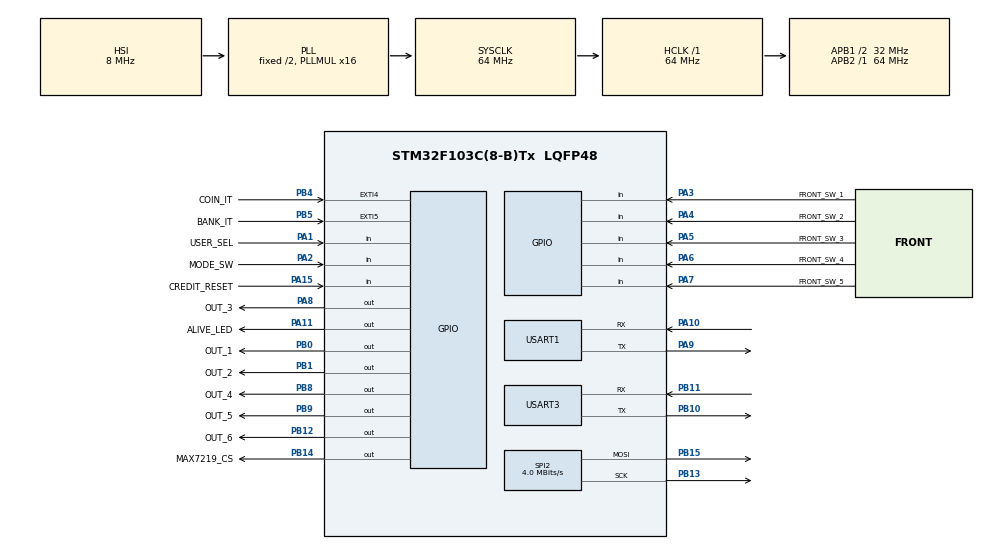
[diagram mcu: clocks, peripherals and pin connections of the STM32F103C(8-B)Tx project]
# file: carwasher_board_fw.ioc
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Mcu.Family=STM32F1
Mcu.Name=STM32F103C(8-B)Tx
Mcu.Package=LQFP48
NVIC.EXTI4_IRQn=true\:0\:0\:false\:false\:true\:true\:true
NVIC.EXTI9_5_IRQn=true\:0\:0\:false\:false\:true\:true\:true
NVIC.PriorityGroup=NVIC_PRIORITYGROUP_4
NVIC.TIM2_IRQn=true\:0\:0\:true\:false\:true\:true\:true
PA1.GPIO_Label=USER_SEL
PA1.GPIO_PuPd=GPIO_PULLDOWN
PA1.Signal=GPIO_Input
PA10.Mode=Asynchronous
PA10.Signal=USART1_RX
PA11.GPIO_Label=ALIVE_LED
PA11.Signal=GPIO_Output
PA13.Mode=Serial_Wire
PA13.Signal=SYS_JTMS-SWDIO
PA14.Mode=Serial_Wire
PA14.Signal=SYS_JTCK-SWCLK
PA15.GPIO_Label=CREDIT_RESET
PA15.GPIO_PuPd=GPIO_PULLDOWN
PA15.Signal=GPIO_Input
PA2.GPIO_Label=MODE_SW
PA2.GPIO_PuPd=GPIO_PULLDOWN
PA2.Signal=GPIO_Input
PA3.GPIO_Label=FRONT_SW_1
PA3.GPIO_PuPd=GPIO_PULLDOWN
PA3.Signal=GPIO_Input
PA4.GPIO_Label=FRONT_SW_2
PA4.GPIO_PuPd=GPIO_PULLDOWN
PA4.Signal=GPIO_Input
PA5.GPIO_Label=FRONT_SW_3
PA5.GPIO_PuPd=GPIO_PULLDOWN
PA5.Signal=GPIO_Input
PA6.GPIO_Label=FRONT_SW_4
PA6.GPIO_PuPd=GPIO_PULLDOWN
PA6.Signal=GPIO_Input
PA7.GPIO_Label=FRONT_SW_5
PA7.GPIO_PuPd=GPIO_PULLDOWN
PA7.Signal=GPIO_Input
PA8.GPIO_Label=OUT_3
PA8.GPIO_PuPd=GPIO_PULLDOWN
PA8.Signal=GPIO_Output
PA9.Mode=Asynchronous
PA9.Signal=USART1_TX
PB0.GPIO_Label=OUT_1
PB0.GPIO_PuPd=GPIO_PULLDOWN
PB0.Signal=GPIO_Output
PB1.GPIO_Label=OUT_2
PB1.GPIO_PuPd=GPIO_PULLDOWN
PB1.Signal=GPIO_Output
PB10.Mode=Asynchronous
PB10.Signal=USART3_TX
PB11.Mode=Asynchronous
PB11.Signal=USART3_RX
PB12.GPIO_Label=OUT_6
PB12.GPIO_PuPd=GPIO_PULLDOWN
PB12.Signal=GPIO_Output
PB13.Mode=TX_Only_Simplex_Unidirect_Master
PB13.Signal=SPI2_SCK
PB14.GPIO_Label=MAX7219_CS
PB14.GPIO_PuPd=GPIO_PULLDOWN
PB14.Signal=GPIO_Output
PB15.Mode=TX_Only_Simplex_Unidirect_Master
PB15.Signal=SPI2_MOSI
PB4.GPIO_Label=COIN_IT
PB4.GPIO_ModeDefaultEXTI=GPIO_MODE_IT_RISING
PB4.Signal=GPXTI4
PB5.GPIO_Label=BANK_IT
PB5.GPIO_ModeDefaultEXTI=GPIO_MODE_IT_RISING
PB5.Signal=GPXTI5
PB8.GPIO_Label=OUT_4
PB8.GPIO_PuPd=GPIO_PULLDOWN
PB8.Signal=GPIO_Output
PB9.GPIO_Label=OUT_5
PB9.GPIO_PuPd=GPIO_PULLDOWN
PB9.Signal=GPIO_Output
PC14-OSC32_IN.Mode=LSE-External-Oscillator
PC14-OSC32_IN.Signal=RCC_OSC32_IN
PC15-OSC32_OUT.Mode=LSE-External-Oscillator
PC15-OSC32_OUT.Signal=RCC_OSC32_OUT
PD0-OSC_IN.Mode=HSE-External-Oscillator
PD0-OSC_IN.Signal=RCC_OSC_IN
PD1-OSC_OUT.Mode=HSE-External-Oscillator
PD1-OSC_OUT.Signal=RCC_OSC_OUT
ProjectManager.HeapSize=0x200
ProjectManager.StackSize=0x400
ProjectManager.TargetToolchain=STM32CubeIDE
RCC.AHBFreq_Value=64000000
RCC.APB1CLKDivider=RCC_HCLK_DIV2
RCC.APB1Freq_Value=32000000
RCC.APB1TimFreq_Value=64000000
RCC.APB2Freq_Value=64000000
RCC.APB2TimFreq_Value=64000000
RCC.HCLKFreq_Value=64000000
RCC.PLLMUL=RCC_PLL_MUL16
RCC.SYSCLKFreq_VALUE=64000000
RCC.SYSCLKSource=RCC_SYSCLKSOURCE_PLLCLK
RCC.USBFreq_Value=64000000
SPI2.BaudRatePrescaler=SPI_BAUDRATEPRESCALER_8
SPI2.CalculateBaudRate=4.0 MBits/s
SPI2.Direction=SPI_DIRECTION_2LINES
SPI2.Mode=SPI_MODE_MASTER
SPI2.VirtualType=VM_MASTER
TIM2.Period=5999
TIM2.Prescaler=119
USART1.VirtualMode=VM_ASYNC
USART3.VirtualMode=VM_ASYNC
VP_RTC_VS_RTC_Activate.Mode=RTC_Enabled
VP_RTC_VS_RTC_Calendar.Mode=RTC_Calendar
VP_TIM2_VS_ClockSourceINT.Mode=Internal
board=custom

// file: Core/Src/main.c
/* USER CODE BEGIN Header */
/**
 ******************************************************************************
 * @file           : main.c
 * @brief          : Main program body
 ******************************************************************************
 * @attention
 *
 * <h2><center>&copy; Copyright (c) 2021 STMicroelectronics.
 * All rights reserved.</center></h2>
 *
 * This software component is licensed by ST under BSD 3-Clause license,
 * the "License"; You may not use this file except in compliance with the
 * License. You may obtain a copy of the License at:
 *                        opensource.org/licenses/BSD-3-Clause
 *
 ******************************************************************************
 */
/* USER CODE END Header */
#include "main.h"
#include "rtc.h"
#include "spi.h"
#include "tim.h"
#include "usart.h"
#include "gpio.h"

/* USER CODE BEGIN Includes */
#include <stdio.h>
#include <string.h>
#include <stdbool.h>
#include <math.h>
#include <max7219.h>
/* USER CODE END Includes */

/* USER CODE BEGIN PD */
#define SW_DEBOUNCE_TIME 90
#define IOT_SEND_INTERVAL 5
#define CREDIT_HI_BYTE 0x06
#define CREDIT_LO_BYTE 0x07
/* USER CODE END PD */

void SystemClock_Config(void);
/* USER CODE BEGIN PFP */
void init_display(void);
void do_1sec_tick(void);
void do_500ms_tick(void);
void do_400ms_tick(void);
void do_300ms_tick(void);
void do_200ms_tick(void);
void do_2sec_tick(void);
uint8_t read_button(void);
void do_operation(void);
void segment_display_int(int number);
void decrease_credit(void);
uint8_t get_function_duration(uint8_t selected_mode);
void segment_display_standby(void);
void segment_display_off(void);
void reset_all_pins(void);
void setting_menu_loop(void);
void segment_display_function_settings(int func_number,int value);
void display_menu(uint8_t selected_menu);
/////  eeprom stuff
void eeprom_write(uint8_t addr, uint8_t data);
void store_credit_eeprom(uint16_t credit);
uint16_t read_credit_eeprom(void);
/////  eeprom stuff
void set_add_duration_of_function(uint8_t _selected_menu);
void set_substract_duration_of_function(uint8_t _selected_menu);
void read_settings_from_eeprom(void);
void reset_all_state(void);
void send_iot_status(uint8_t money_event);
void stop_acceptors(void);
void start_acceptors(void);

void add_bank_note_credit(void);
void add_coin_credit(void);

void enable_exti(void);
void disable_exti(void);
/* USER CODE END PFP */

/* USER CODE BEGIN 0 */
volatile int tim2_counter = 0;
volatile int tim2_300ms_counter = 0;
volatile int tim2_200ms_counter = 0;
volatile int tim2_400ms_counter = 0;
volatile int tim2_500ms_counter = 0;
volatile int tim2_2sec_counter = 0;
volatile int iot_round_counter = 0;
volatile bool is_operation_running = false;
volatile uint16_t credit = 0;   // credit store
volatile uint8_t pressed_button = 0;
volatile uint8_t setting_mode = 0;
volatile uint8_t current_out_port = 0;
volatile bool is_standby = true;
volatile uint8_t standby_counter = 0;
volatile bool consume_credit = false;
volatile bool display_binking = false;
volatile bool front_button_reset_credit_press = false;
volatile uint16_t front_button_reset_credit_counter = 0;
/* duration settings */
volatile uint8_t F1_DURATION = 10;
volatile uint8_t F2_DURATION = 10;
volatile uint8_t F3_DURATION = 10;
volatile uint8_t F4_DURATION = 10;
volatile uint8_t F5_DURATION = 10;
volatile uint8_t credit_consume_counter = 0;

/// for timer capture
volatile uint32_t IC_Val1 = 0;
volatile uint32_t IC_Val2 = 0;
volatile uint32_t Difference = 0;
volatile uint8_t Is_First_Captured = 0;  // is the first value captured ?

volatile uint32_t coin_IC_Val1 = 0;
volatile uint32_t coin_IC_Val2 = 0;
volatile uint32_t coin_Difference = 0;
volatile uint8_t coin_Is_First_Captured = 0;  // is the first value captured ?

volatile const int8_t bank_acceptor_pulse_width = 45;
volatile const int8_t coin_acceptor_pulse_width = 50;
volatile const int8_t creditPulseOffset = 10;

volatile const uint8_t bank_credit_per_pulse = 10;
volatile const uint8_t coin_credit_per_pulse = 1;

volatile const int minimum_credit_to_start = 10;
volatile const uint8_t default_credit_duration = 10;

volatile uint8_t last_note_money = 0;
volatile uint8_t last_coin_money = 0;

volatile bool exti_disable = false;
////////////////////////////////////

/* USER CODE END 0 */

int main(void)
{

	/* MCU Configuration--------------------------------------------------------*/

	/* Reset of all peripherals, Initializes the Flash interface and the Systick. */
	HAL_Init();

	/* Configure the system clock */
	SystemClock_Config();

	/* Initialize all configured peripherals */
	MX_GPIO_Init();
	MX_RTC_Init();
	MX_SPI2_Init();
	MX_TIM2_Init();
	MX_USART1_UART_Init();
	MX_USART3_UART_Init();
	/* USER CODE BEGIN 2 */
	disable_exti();
	reset_all_pins();
	read_settings_from_eeprom();
	init_display();
	//	HAL_TIM_IC_Start_IT(&htim3, TIM_CHANNEL_1);
	//	HAL_TIM_IC_Start_IT(&htim3, TIM_CHANNEL_2);
	reset_all_pins();
	HAL_TIM_Base_Start_IT(&htim2);
	HAL_Delay(2000);
	enable_exti();
	/* USER CODE END 2 */

	/* Infinite loop */
	while (1)
	{

		/* USER CODE BEGIN 3 */
		uint8_t btn_read = read_button();
		if(btn_read == 6){ // credit reset is press
			reset_all_state();
			store_credit_eeprom(credit); // save last credit value
			continue;
		}
		if(btn_read == 7){ // mode button is pressed
			setting_mode = 1;
			setting_menu_loop();
			continue;
		}
		if(btn_read != 0){
			if(btn_read == pressed_button){
				pressed_button = 0;
			}else{
				if(pressed_button == 0 ){
					pressed_button = btn_read;
				}
			}
		}
		if(is_operation_running){
			is_standby = false;
			do_operation();
		}else{
			pressed_button = 0;
			reset_all_pins();
		}
		enable_exti();
		HAL_Delay(100);
		//		start_acceptors();

	}
	/* USER CODE END 3 */
}

void SystemClock_Config(void)
{
	RCC_OscInitTypeDef RCC_OscInitStruct = {0};
	RCC_ClkInitTypeDef RCC_ClkInitStruct = {0};
	RCC_PeriphCLKInitTypeDef PeriphClkInit = {0};

	/** Initializes the RCC Oscillators according to the specified parameters
	 * in the RCC_OscInitTypeDef structure.
	 */
	RCC_OscInitStruct.OscillatorType = RCC_OSCILLATORTYPE_HSI|RCC_OSCILLATORTYPE_LSI;
	RCC_OscInitStruct.HSIState = RCC_HSI_ON;
	RCC_OscInitStruct.HSICalibrationValue = RCC_HSICALIBRATION_DEFAULT;
	RCC_OscInitStruct.LSIState = RCC_LSI_ON;
	RCC_OscInitStruct.PLL.PLLState = RCC_PLL_ON;
	RCC_OscInitStruct.PLL.PLLSource = RCC_PLLSOURCE_HSI_DIV2;
	RCC_OscInitStruct.PLL.PLLMUL = RCC_PLL_MUL16;
	if (HAL_RCC_OscConfig(&RCC_OscInitStruct) != HAL_OK)
	{
		Error_Handler();
	}
	/** Initializes the CPU, AHB and APB buses clocks
	 */
	RCC_ClkInitStruct.ClockType = RCC_CLOCKTYPE_HCLK|RCC_CLOCKTYPE_SYSCLK
			|RCC_CLOCKTYPE_PCLK1|RCC_CLOCKTYPE_PCLK2;
	RCC_ClkInitStruct.SYSCLKSource = RCC_SYSCLKSOURCE_PLLCLK;
	RCC_ClkInitStruct.AHBCLKDivider = RCC_SYSCLK_DIV1;
	RCC_ClkInitStruct.APB1CLKDivider = RCC_HCLK_DIV2;
	RCC_ClkInitStruct.APB2CLKDivider = RCC_HCLK_DIV1;

	if (HAL_RCC_ClockConfig(&RCC_ClkInitStruct, FLASH_LATENCY_2) != HAL_OK)
	{
		Error_Handler();
	}
	PeriphClkInit.PeriphClockSelection = RCC_PERIPHCLK_RTC;
	PeriphClkInit.RTCClockSelection = RCC_RTCCLKSOURCE_LSI;
	if (HAL_RCCEx_PeriphCLKConfig(&PeriphClkInit) != HAL_OK)
	{
		Error_Handler();
	}
}

/* USER CODE BEGIN 4 */
void disable_exti(){
	exti_disable = true;
	HAL_NVIC_DisableIRQ(EXTI4_IRQn);
	HAL_NVIC_DisableIRQ(EXTI9_5_IRQn);
	HAL_UART_Transmit(&huart1, (uint8_t*)"\n##### EXTI DISABLED!! ######\r\n", 31,HAL_MAX_DELAY);
}
void enable_exti(){
	exti_disable = false;
	__HAL_GPIO_EXTI_CLEAR_IT(COIN_IT_Pin);
	__HAL_GPIO_EXTI_CLEAR_IT(BANK_IT_Pin);
	HAL_NVIC_ClearPendingIRQ(EXTI4_IRQn);
	HAL_NVIC_ClearPendingIRQ(EXTI9_5_IRQn);
	HAL_NVIC_EnableIRQ(EXTI4_IRQn);
	HAL_NVIC_EnableIRQ(EXTI9_5_IRQn);
	HAL_UART_Transmit(&huart1, (uint8_t*)"\n##### EXTI ENABLE ######\r\n", 27,HAL_MAX_DELAY);
}
void send_iot_status(uint8_t money_event){
	HAL_UART_Transmit(&huart1, (uint8_t*)">>>>>>>>> sending iot package\r\n", 31,HAL_MAX_DELAY);
	uint8_t iot_serial_package[8];
	iot_serial_package[0] = 0x02; // STX start flag
	iot_serial_package[1] = credit;  // credit hi bits
	iot_serial_package[2] = 0;  // credit lo bits
	iot_serial_package[3] = pressed_button;  // mode
	iot_serial_package[4] = money_event;  // money in event
	iot_serial_package[5] = 0x03; // ETX stop flag
	iot_serial_package[6] = 0x0D; // newline
	iot_serial_package[7] = 0x0A; // carriage return
	HAL_UART_Transmit(&huart1, (uint8_t *)iot_serial_package, 8, HAL_MAX_DELAY);
	HAL_UART_Transmit(&huart3, (uint8_t *)iot_serial_package, 8, HAL_MAX_DELAY);
}
void display_menu(uint8_t selected_menu){
	switch (selected_menu) {
	case 1:
		segment_display_function_settings(selected_menu,F1_DURATION);
		break;
	case 2:
		segment_display_function_settings(selected_menu,F2_DURATION);
		break;
	case 3:
		max7219_PrintDigit(DIGIT_3,18,true);
		segment_display_function_settings(selected_menu,F3_DURATION);
		break;
	case 4:
		max7219_PrintDigit(DIGIT_3,19,true);
		segment_display_function_settings(selected_menu,F4_DURATION);
		break;
	case 5:
		segment_display_function_settings(selected_menu,F5_DURATION);
		break;
	}
}
void setting_menu_loop(){
	reset_all_state();
	is_standby = false;
	while(setting_mode != 0){
		uint8_t btn_read = read_button();
		if(btn_read == 7){
			setting_mode += 1;
			if(setting_mode >= 6){
				setting_mode = 0;
				reset_all_state();
				return;
			}
			continue;
		}else if(btn_read == 1){
			set_add_duration_of_function(setting_mode);
		}else if(btn_read == 2){
			set_substract_duration_of_function(setting_mode);
		}
	}
}
void store_credit_eeprom(uint16_t store_credit){
	uint8_t hbits=store_credit & 0xff;
	uint8_t lbits=(store_credit >> 8);
	eeprom_write(CREDIT_HI_BYTE, hbits);
	eeprom_write(CREDIT_LO_BYTE, lbits);
}
void eeprom_write(uint8_t addr, uint8_t data){
	/*
	 * EEPROM ADDRESS TABLE
	 * ------------------------
	 *  address | description
	 * ------------------------
	 *   0x01   |  F1_DURATION
	 *   0x02   |  F2_DURATION
	 *   0x03   |  F3_DURATION
	 *   0x04   |  F4_DURATION
	 *   0x05   |  F5_DURATION
	 *
	 *	 0x06   |  credit
	 *
	 * */
	switch(addr){
	case 0x01:
		HAL_RTCEx_BKUPWrite(&hrtc, RTC_BKP_DR1, data);
		break;
	case 0x02:
		HAL_RTCEx_BKUPWrite(&hrtc, RTC_BKP_DR2, data);
		break;
	case 0x03:
		HAL_RTCEx_BKUPWrite(&hrtc, RTC_BKP_DR3, data);
		break;
	case 0x04:
		HAL_RTCEx_BKUPWrite(&hrtc, RTC_BKP_DR4, data);
		break;
	case 0x05:
		HAL_RTCEx_BKUPWrite(&hrtc, RTC_BKP_DR5, data);
		break;
	case 0x06:  /// credit hi bit
		HAL_RTCEx_BKUPWrite(&hrtc, RTC_BKP_DR6, data);
		break;
	case 0x07:  /// credit lo bit
		HAL_RTCEx_BKUPWrite(&hrtc, RTC_BKP_DR7, data);
		break;
	}

}
void set_add_duration_of_function(uint8_t _selected_menu){
	if(_selected_menu > 0){
		switch (_selected_menu) {
		case 1:
			if(F1_DURATION < 99){
				F1_DURATION += 1;
				eeprom_write(0x01,F1_DURATION);
			}
			break;
		case 2:
			if(F2_DURATION < 99){
				F2_DURATION += 1;
				eeprom_write(0x02,F2_DURATION);
			}
			break;
		case 3:
			if(F3_DURATION < 99){
				F3_DURATION += 1;
				eeprom_write(0x03,F3_DURATION);
			}
			break;
		case 4:
			if(F4_DURATION < 99){
				F4_DURATION += 1;
				eeprom_write(0x04,F4_DURATION);
			}
			break;
		case 5:
			if(F5_DURATION < 99){
				F5_DURATION += 1;
				eeprom_write(0x05,F5_DURATION);
			}
			break;
		}
	}
}

void set_substract_duration_of_function(uint8_t _selected_menu){
	if(_selected_menu > 0){
		switch (_selected_menu) {
		case 1:
			if(F1_DURATION >0){
				F1_DURATION -= 1;
				eeprom_write(0x01,F1_DURATION);
			}
			break;
		case 2:
			if(F2_DURATION >0){
				F2_DURATION -= 1;
				eeprom_write(0x02,F2_DURATION);
			}
			break;
		case 3:
			if(F3_DURATION >0){
				F3_DURATION -= 1;
				eeprom_write(0x03,F3_DURATION);
			}
			break;
		case 4:
			if(F4_DURATION >0){
				F4_DURATION -= 1;
				eeprom_write(0x04,F4_DURATION);
			}
			break;
		case 5:
			if(F5_DURATION >0){
				F5_DURATION -= 1;
				eeprom_write(0x05,F5_DURATION);
			}
			break;
		}
	}
}
void segment_display_function_settings(int func_number,int value){
	max7219_Decode_On();
	max7219_Clean ();
	if(value < 10){
		max7219_PrintItos (DIGIT_1, value );
	}else if(value >= 10 && value < 100){
		max7219_PrintItos (DIGIT_2, value );
	}
	max7219_PrintDigit(DIGIT_3,func_number,true);
}
void HAL_TIM_PeriodElapsedCallback(TIM_HandleTypeDef *htim) {
	if (htim->Instance == TIM2){
		//		HAL_UART_Transmit(&huart1, (uint8_t*)"timer2 tick!\r\n", 14,HAL_MAX_DELAY);
		tim2_counter += 1;
		tim2_500ms_counter += 1;
		tim2_300ms_counter += 1;
		tim2_400ms_counter += 1;
		tim2_200ms_counter += 1;
		if(tim2_counter % 10 == 0){ /// 100 ms tick
			//			char tmp_msg[35];
			//			sprintf(tmp_msg,"pressed button : %d \r\n",pressed_button);
			//			HAL_UART_Transmit(&huart1, (uint8_t *)tmp_msg, strlen(tmp_msg), HAL_MAX_DELAY);
			if(setting_mode != 0){
				is_standby = false;
				display_menu(setting_mode);
			}
		}

		if(tim2_counter >= 100){
			tim2_counter = 0;
			do_1sec_tick();
		}
		if(tim2_500ms_counter >= 50){
			tim2_500ms_counter = 0;
			do_500ms_tick();
		}
		if(tim2_200ms_counter >= 20){
			tim2_200ms_counter = 0;
			do_200ms_tick();
		}
		if(tim2_300ms_counter >= 30){
			tim2_300ms_counter = 0;
			do_300ms_tick();
		}
		if(tim2_400ms_counter >= 40){
			tim2_400ms_counter = 0;
			do_400ms_tick();
		}
	}
}
uint8_t get_function_duration(uint8_t selected_mode){
	uint8_t duration_per_1credit = 0;
	switch(selected_mode){
	case 1:
		duration_per_1credit = F1_DURATION;
		break;
	case 2:
		duration_per_1credit = F2_DURATION;
		break;
	case 3:
		duration_per_1credit = F3_DURATION;
		break;
	case 4:
		duration_per_1credit = F4_DURATION;
		break;
	case 5:
		duration_per_1credit = F5_DURATION;
		break;
	default:
		duration_per_1credit = 10;
		break;
	}
	return duration_per_1credit;
}
void reset_all_state(){
	//	HAL_TIM_Base_Stop_IT(&htim2);
	//	__HAL_TIM_SET_COUNTER(&htim2, 0);
	//	__HAL_TIM_CLEAR_IT(&htim2, TIM_IT_UPDATE);
	reset_all_pins();
	consume_credit = false;
	credit = 0;
	is_standby = true;
	is_operation_running = false;
	pressed_button = 0;
	max7219_Turn_On();
	max7219_Clean();
	tim2_counter = 0;
	tim2_500ms_counter = 0;
	tim2_300ms_counter = 0;
	tim2_400ms_counter = 0;
	tim2_200ms_counter = 0;
	//	HAL_TIM_Base_Start_IT(&htim2);
}
//void stop_acceptors(){
//	HAL_TIM_Base_Stop_IT(&htim3);
//	HAL_TIM_IC_Stop_IT(&htim3, TIM_CHANNEL_1);
//	HAL_TIM_IC_Stop_IT(&htim3, TIM_CHANNEL_2);
//	__HAL_TIM_SET_COUNTER(&htim3, 0);
//	__HAL_TIM_CLEAR_IT(&htim3, TIM_IT_UPDATE);
//}
//
//void start_acceptors(){
//	HAL_TIM_Base_Start_IT(&htim3);
//	HAL_TIM_IC_Start_IT(&htim3, TIM_CHANNEL_1);
//	HAL_TIM_IC_Start_IT(&htim3, TIM_CHANNEL_2);
//}
void decrease_credit(){
	if(consume_credit){
		credit_consume_counter += 1;
		char tmp_msg[35];
		sprintf(tmp_msg,"Consuming counter: %d \r\n",credit_consume_counter);
		HAL_UART_Transmit(&huart1, (uint8_t *)tmp_msg, strlen(tmp_msg), HAL_MAX_DELAY);
		uint8_t duration = get_function_duration(pressed_button);
		if(credit_consume_counter >= duration){
			credit_consume_counter = 0;
			HAL_UART_Transmit(&huart1, (uint8_t*)"Consuming 1 credit\r\n", 20,HAL_MAX_DELAY);
			credit -= 1; // decrease money
			if(credit <= 0){
				credit = 0;
				reset_all_state();
			}
		}
		store_credit_eeprom(credit);
	}
}
void do_1sec_tick(){

	HAL_UART_Transmit(&huart1, (uint8_t*)"1sec tick\r\n", 11,HAL_MAX_DELAY);
	char tmp_msg[35];
	sprintf(tmp_msg,"#### current credit: %d, mode: %d\r\n",credit,pressed_button);
	HAL_UART_Transmit(&huart1, (uint8_t *)tmp_msg, strlen(tmp_msg), HAL_MAX_DELAY);
	decrease_credit(); // logic runner funtion
	iot_round_counter += 1;
	if(iot_round_counter >= IOT_SEND_INTERVAL){
		max7219_DisableDisplayTest(); /// keep disable display test to prevent 888
		iot_round_counter = 0;
		send_iot_status(0);
		if(last_coin_money != 0){
			send_iot_status(last_coin_money);
			last_coin_money = 0;
		}
		if(last_note_money != 0){
			send_iot_status(last_note_money);
			last_note_money = 0;
		}
	}

}

void do_500ms_tick(){

}
void do_200ms_tick(){
	if(front_button_reset_credit_press){
		front_button_reset_credit_counter += 1;
	}else{
		front_button_reset_credit_counter = 0;
	}
	//	char tmp_msg[35];
	//	sprintf(tmp_msg,"===== front button counter: %d\r\n",front_button_reset_credit_counter);
	//	HAL_UART_Transmit(&huart1, (uint8_t *)tmp_msg, strlen(tmp_msg), HAL_MAX_DELAY);
	if(is_standby){
		segment_display_standby();
	}
}
void do_300ms_tick(){
	store_credit_eeprom(credit);
	HAL_GPIO_TogglePin(ALIVE_LED_GPIO_Port, ALIVE_LED_Pin);
}

void do_400ms_tick(){
	if(is_operation_running){
		display_binking = !display_binking;
		if(display_binking && (current_out_port != 0)){
			max7219_Turn_Off();
		}else{
			max7219_Turn_On();
			segment_display_int(credit);
		}

	}else{
		max7219_Turn_On();
	}
}

void init_display(){
	max7219_DisableDisplayTest();
	HAL_Delay(100);
	max7219_Init ( 5 );
	max7219_Decode_On ();
}
void reset_all_pins(){
	char tmp_msg[50];
	sprintf(tmp_msg, ">>>>>>>> reset_all_pins\r\n");
	HAL_UART_Transmit(&huart1, (uint8_t*)tmp_msg, strlen(tmp_msg), HAL_MAX_DELAY);
	if(current_out_port != 0){
		disable_exti();
	}
	//// to prevent noise from relay
	HAL_GPIO_WritePin(OUT_1_GPIO_Port, OUT_1_Pin, GPIO_PIN_RESET); // pin b0 --> out 1
	HAL_GPIO_WritePin(OUT_2_GPIO_Port, OUT_2_Pin, GPIO_PIN_RESET); // pin b1 --> out 2
	HAL_GPIO_WritePin(OUT_3_GPIO_Port, OUT_3_Pin, GPIO_PIN_RESET); // pin a8 --> out 3
	HAL_GPIO_WritePin(OUT_4_GPIO_Port, OUT_4_Pin, GPIO_PIN_RESET); // pin b8 --> out 4
	HAL_GPIO_WritePin(OUT_5_GPIO_Port, OUT_5_Pin, GPIO_PIN_RESET); // pin b9 --> out 5
	HAL_GPIO_WritePin(OUT_6_GPIO_Port, OUT_6_Pin, GPIO_PIN_RESET); // pin b12 --> out 6
	current_out_port = 0;
	if(exti_disable){
		int i=0;
		for(i=0; i<2000000;i++){
			asm("NOP");
		}
		enable_exti();
	}

}

void set_output_to(uint8_t pin){
	if(current_out_port == pin){
		return;
	}
	reset_all_pins();
	disable_exti();  //// to prevent noise from relay
	char tmp_msg[50];
	sprintf(tmp_msg, ">>>>>>>> SET OUTPUT => %d \r\n", (int)pin);
	HAL_UART_Transmit(&huart1, (uint8_t*)tmp_msg, strlen(tmp_msg), HAL_MAX_DELAY);
	switch(pin){
	case 1:
		HAL_GPIO_WritePin(OUT_1_GPIO_Port, OUT_1_Pin, GPIO_PIN_SET); // pin b0 --> out 1
		current_out_port = 1;
		//		HAL_UART_Transmit(&huart1, (uint8_t*)"SET OUTPUT TO PORT1\r\n", 21,HAL_MAX_DELAY);
		break;
	case 2:
		HAL_GPIO_WritePin(OUT_2_GPIO_Port, OUT_2_Pin, GPIO_PIN_SET); // pin b1 --> out 2
		current_out_port = 2;
		//		HAL_UART_Transmit(&huart1, (uint8_t*)"SET OUTPUT TO PORT2\r\n", 21,HAL_MAX_DELAY);
		break;
	case 3:
		HAL_GPIO_WritePin(OUT_3_GPIO_Port, OUT_3_Pin, GPIO_PIN_SET); // pin a8 --> out 3
		current_out_port = 3;
		//		HAL_UART_Transmit(&huart1, (uint8_t*)"SET OUTPUT TO PORT3\r\n", 21,HAL_MAX_DELAY);
		break;
	case 4:
		HAL_GPIO_WritePin(OUT_4_GPIO_Port, OUT_4_Pin, GPIO_PIN_SET); // pin b8 --> out 4
		HAL_GPIO_WritePin(OUT_6_GPIO_Port, OUT_6_Pin, GPIO_PIN_SET); // pin b12 --> out 6
		current_out_port = 4;
		//		HAL_UART_Transmit(&huart1, (uint8_t*)"SET OUTPUT TO PORT4\r\n", 21,HAL_MAX_DELAY);
		break;
	case 5:
		HAL_GPIO_WritePin(OUT_5_GPIO_Port, OUT_5_Pin, GPIO_PIN_SET); // pin b9 --> out 5
		current_out_port = 5;
		//		HAL_UART_Transmit(&huart1, (uint8_t*)"SET OUTPUT TO PORT5\r\n", 21,HAL_MAX_DELAY);
		break;
	default:
		reset_all_pins();
		current_out_port = 0;
		break;
	}
	if(exti_disable){
		int i=0;
		for(i=0; i<2000000;i++){
			asm("NOP");
		}
		enable_exti();
	}
	//	HAL_TIM_IC_Start_IT(&htim3, TIM_CHANNEL_1);
	//	HAL_TIM_IC_Start_IT(&htim3, TIM_CHANNEL_2);
}

void do_operation(){
	set_output_to(pressed_button);
	if(current_out_port != 0){
		consume_credit = true;
	}else{
		consume_credit = false;
	}
}

uint8_t read_button(){
	if(HAL_GPIO_ReadPin(FRONT_SW_1_GPIO_Port, FRONT_SW_1_Pin)){
		HAL_Delay(SW_DEBOUNCE_TIME);
		while(HAL_GPIO_ReadPin(FRONT_SW_1_GPIO_Port, FRONT_SW_1_Pin));
		HAL_UART_Transmit(&huart1, (uint8_t*)"pressed button1!\r\n", 18,HAL_MAX_DELAY);
		return 1;
	}else if(HAL_GPIO_ReadPin(FRONT_SW_2_GPIO_Port, FRONT_SW_2_Pin)){
		HAL_Delay(SW_DEBOUNCE_TIME);
		while(HAL_GPIO_ReadPin(FRONT_SW_2_GPIO_Port, FRONT_SW_2_Pin));
		HAL_UART_Transmit(&huart1, (uint8_t*)"pressed button2!\r\n", 18,HAL_MAX_DELAY);
		return 2;
	}else if(HAL_GPIO_ReadPin(FRONT_SW_3_GPIO_Port, FRONT_SW_3_Pin)){
		HAL_Delay(SW_DEBOUNCE_TIME);
		while(HAL_GPIO_ReadPin(FRONT_SW_3_GPIO_Port, FRONT_SW_3_Pin));
		HAL_UART_Transmit(&huart1, (uint8_t*)"pressed button3!\r\n", 18,HAL_MAX_DELAY);
		return 3;
	}else if(HAL_GPIO_ReadPin(FRONT_SW_4_GPIO_Port, FRONT_SW_4_Pin)){
		HAL_Delay(SW_DEBOUNCE_TIME);
		while(HAL_GPIO_ReadPin(FRONT_SW_4_GPIO_Port, FRONT_SW_4_Pin));
		HAL_UART_Transmit(&huart1, (uint8_t*)"pressed button4!\r\n", 18,HAL_MAX_DELAY);
		return 4;
	}else if(HAL_GPIO_ReadPin(FRONT_SW_5_GPIO_Port, FRONT_SW_5_Pin)){
		HAL_Delay(SW_DEBOUNCE_TIME);
		front_button_reset_credit_press = true;
		while(HAL_GPIO_ReadPin(FRONT_SW_5_GPIO_Port, FRONT_SW_5_Pin)){
			if(front_button_reset_credit_counter >= 60){
				reset_all_state();
				return 0;
			}
		}
		front_button_reset_credit_press = false;
		HAL_UART_Transmit(&huart1, (uint8_t*)"pressed button5!\r\n", 18,HAL_MAX_DELAY);
		return 5;
	}else if(HAL_GPIO_ReadPin(CREDIT_RESET_GPIO_Port, CREDIT_RESET_Pin)){
		HAL_Delay(SW_DEBOUNCE_TIME);
		while(HAL_GPIO_ReadPin(CREDIT_RESET_GPIO_Port, CREDIT_RESET_Pin));
		HAL_UART_Transmit(&huart1, (uint8_t*)"pressed button credit reset!\r\n", 30,HAL_MAX_DELAY);
		return 6;
	}else if(HAL_GPIO_ReadPin(MODE_SW_GPIO_Port, MODE_SW_Pin)){
		HAL_Delay(SW_DEBOUNCE_TIME);
		while(HAL_GPIO_ReadPin(MODE_SW_GPIO_Port, MODE_SW_Pin));
		HAL_UART_Transmit(&huart1, (uint8_t*)"pressed button mode!\r\n", 22,HAL_MAX_DELAY);
		return 7;
	}else{
		return 0;
	}
}

void segment_display_int(int number){
	max7219_Turn_Off();
	max7219_Init(5);
	max7219_Clean ();
	max7219_Decode_On();
	max7219_Clean ();
	if(number < 10){
		max7219_PrintItos (DIGIT_1, number );
	}else if(number >= 10 && number < 100){
		max7219_PrintItos (DIGIT_2, number );
	}else{
		max7219_PrintItos (DIGIT_3, number );
	}
}

void segment_display_off(){
	max7219_Clean ();
	max7219_Decode_On();
	max7219_Clean ();
	max7219_PrintDigit(DIGIT_1,BLANK,false);
	max7219_PrintDigit(DIGIT_2,BLANK,false);
	max7219_PrintDigit(DIGIT_3,BLANK,false);
}

void segment_display_standby(){
	max7219_Clean ();
	max7219_Decode_On();
	max7219_Clean ();

	switch(standby_counter){
	case 0:
		max7219_PrintDigit(DIGIT_1,MINUS,false);
		max7219_PrintDigit(DIGIT_2,BLANK,false);
		max7219_PrintDigit(DIGIT_3,BLANK,false);
		break;
	case 1:
		max7219_PrintDigit(DIGIT_1,BLANK,false);
		max7219_PrintDigit(DIGIT_2,MINUS,false);
		max7219_PrintDigit(DIGIT_3,BLANK,false);
		break;
	case 2:
		max7219_PrintDigit(DIGIT_1,BLANK,false);
		max7219_PrintDigit(DIGIT_2,BLANK,false);
		max7219_PrintDigit(DIGIT_3,MINUS,false);
		break;
	case 3:
		max7219_PrintDigit(DIGIT_1,BLANK,false);
		max7219_PrintDigit(DIGIT_2,MINUS,false);
		max7219_PrintDigit(DIGIT_3,BLANK,false);
		break;
	default:
		max7219_PrintDigit(DIGIT_1,MINUS,false);
		max7219_PrintDigit(DIGIT_2,MINUS,false);
		max7219_PrintDigit(DIGIT_3,MINUS,false);
		break;
	}
	if(standby_counter >= 3){
		standby_counter = 0;
	}else{
		standby_counter += 1;
	}

}

void add_bank_note_credit(){
	if (true) {
		char tmp_msg[40];
		sprintf(tmp_msg, "added credit : %d \r\n",
				bank_credit_per_pulse);
		HAL_UART_Transmit(&huart1, (uint8_t*)tmp_msg, strlen(tmp_msg), HAL_MAX_DELAY);
		credit += bank_credit_per_pulse;
		iot_round_counter = 0;
		last_note_money += bank_credit_per_pulse;
		if(credit >= 999){
			credit = 999;
		}
		//		store_credit_eeprom(credit);
		max7219_Turn_On();
		segment_display_int(credit);
		is_standby = false;
		if (credit >= minimum_credit_to_start) {
			is_operation_running = true;
			HAL_UART_Transmit(&huart1, (uint8_t*)"front btn is now enable\r\n", 25,
					HAL_MAX_DELAY);
		}
		char tmp_msg2[35];
		sprintf(tmp_msg2, "current credit : %d \r\n", (int)credit);
		HAL_UART_Transmit(&huart1, (uint8_t*)tmp_msg2, strlen(tmp_msg2),
				HAL_MAX_DELAY);
	}
}

void add_coin_credit() {
	if (true) {
		char tmp_msg[40];
		sprintf(tmp_msg, "added credit : %d \r\n",
				(int)coin_credit_per_pulse);
		HAL_UART_Transmit(&huart1, (uint8_t*)tmp_msg, strlen(tmp_msg), HAL_MAX_DELAY);
		credit += coin_credit_per_pulse;
		iot_round_counter = 0;
		last_coin_money += coin_credit_per_pulse;
		if(credit >= 999){
			credit = 999;
		}
		//		store_credit_eeprom(credit);
		is_standby = false;
		max7219_Turn_On();
		segment_display_int(credit);

		if (credit >= minimum_credit_to_start) {
			is_operation_running = true;
			HAL_UART_Transmit(&huart1, (uint8_t*)"front btn is now enable\r\n", 25,
					HAL_MAX_DELAY);
		}
	}
}

uint16_t read_credit_eeprom(){
	uint8_t hbits = HAL_RTCEx_BKUPRead(&hrtc, RTC_BKP_DR6);
	uint8_t lbits = HAL_RTCEx_BKUPRead(&hrtc, RTC_BKP_DR7);
	u_int16_t converted_value = (lbits << 8) | hbits;
	return converted_value;
}
void read_settings_from_eeprom(void){
	F1_DURATION = HAL_RTCEx_BKUPRead(&hrtc, RTC_BKP_DR1);
	F2_DURATION = HAL_RTCEx_BKUPRead(&hrtc, RTC_BKP_DR2);
	F3_DURATION = HAL_RTCEx_BKUPRead(&hrtc, RTC_BKP_DR3);
	F4_DURATION = HAL_RTCEx_BKUPRead(&hrtc, RTC_BKP_DR4);
	F5_DURATION = HAL_RTCEx_BKUPRead(&hrtc, RTC_BKP_DR5);
	credit = read_credit_eeprom();
	//	if(HAL_GPIO_ReadPin(USER_SEL_GPIO_Port, USER_SEL_Pin) == GPIO_PIN_SET){
	//		credit = 999;
	//	}
	if(credit >= 2){
		is_operation_running = true;
		is_standby = false;
		consume_credit = false;
		credit_consume_counter = 0;

	}else{
		reset_all_state();
	}
	char tmp_msg[35];
	sprintf(tmp_msg,"eeprom read DURATION 1 is %d \r\n",F1_DURATION);
	HAL_UART_Transmit(&huart1, (uint8_t *)tmp_msg, strlen(tmp_msg), HAL_MAX_DELAY);
	sprintf(tmp_msg,"eeprom read DURATION 2 is %d \r\n",F2_DURATION);
	HAL_UART_Transmit(&huart1, (uint8_t *)tmp_msg, strlen(tmp_msg), HAL_MAX_DELAY);
	sprintf(tmp_msg,"eeprom read DURATION 3 is %d \r\n",F3_DURATION);
	HAL_UART_Transmit(&huart1, (uint8_t *)tmp_msg, strlen(tmp_msg), HAL_MAX_DELAY);
	sprintf(tmp_msg,"eeprom read DURATION 4 is %d \r\n",F4_DURATION);
	HAL_UART_Transmit(&huart1, (uint8_t *)tmp_msg, strlen(tmp_msg), HAL_MAX_DELAY);
	sprintf(tmp_msg,"eeprom read DURATION 5 is %d \r\n",F5_DURATION);
	HAL_UART_Transmit(&huart1, (uint8_t *)tmp_msg, strlen(tmp_msg), HAL_MAX_DELAY);
	sprintf(tmp_msg,"eeprom read CREDIT is %d \r\n",(int)credit);
	HAL_UART_Transmit(&huart1, (uint8_t *)tmp_msg, strlen(tmp_msg), HAL_MAX_DELAY);

	if(F1_DURATION == 0 || F2_DURATION == 0 || F3_DURATION == 0 || F4_DURATION == 0 || F5_DURATION == 0){
		HAL_RTCEx_BKUPWrite(&hrtc, RTC_BKP_DR1, default_credit_duration);
		HAL_RTCEx_BKUPWrite(&hrtc, RTC_BKP_DR2, default_credit_duration);
		HAL_RTCEx_BKUPWrite(&hrtc, RTC_BKP_DR3, default_credit_duration);
		HAL_RTCEx_BKUPWrite(&hrtc, RTC_BKP_DR4, default_credit_duration);
		HAL_RTCEx_BKUPWrite(&hrtc, RTC_BKP_DR5, default_credit_duration);
		F1_DURATION = default_credit_duration;
		F2_DURATION = default_credit_duration;
		F3_DURATION = default_credit_duration;
		F4_DURATION = default_credit_duration;
		F5_DURATION = default_credit_duration;
	}
	HAL_Delay(300);
}

void HAL_GPIO_EXTI_Callback( uint16_t GPIO_Pin)
{
	char tmp[80];
	if(GPIO_Pin == COIN_IT_Pin){
		//This block will be triggered after pin activated.
		sprintf(tmp,"\n----------\ntriggered from  COIN_IT_Pin\n----------\r\n");
		HAL_UART_Transmit(&huart1, (uint8_t *)tmp, strlen(tmp), HAL_MAX_DELAY);
		add_coin_credit();
	}
	if(GPIO_Pin == BANK_IT_Pin){
		//This block will be triggered after pin activated.
		sprintf(tmp,"\n----------\ntriggered from  BANK_IT_Pin\n----------\r\n");
		HAL_UART_Transmit(&huart1, (uint8_t *)tmp, strlen(tmp), HAL_MAX_DELAY);
		add_bank_note_credit();
	}
}

/* USER CODE END 4 */

void Error_Handler(void)
{
	__disable_irq();
	while (1)
	{
	}
}

/************************ (C) COPYRIGHT STMicroelectronics *****END OF FILE****/
